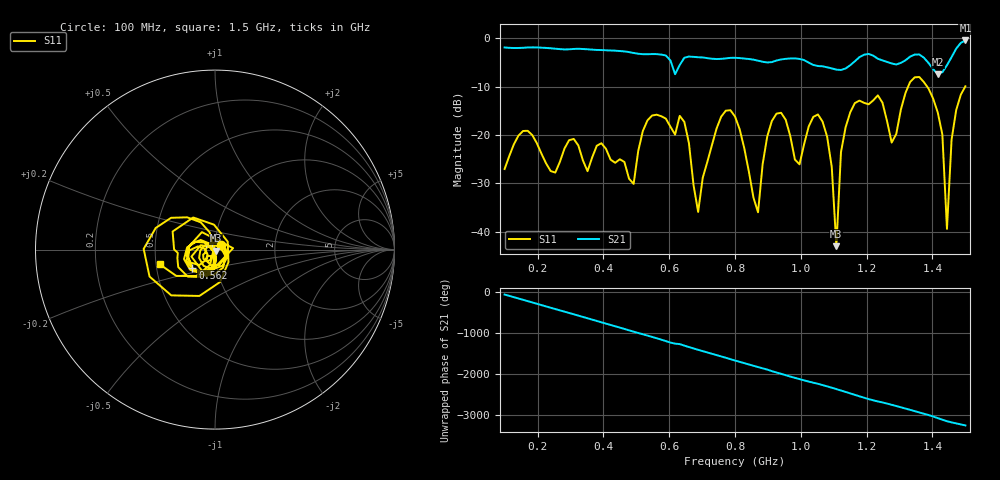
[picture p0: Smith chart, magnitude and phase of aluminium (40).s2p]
! NanoVNA-App
! Date: 2025-09-25 14:55:35
! Start: 100MHz Stop: 1,5GHz Points: 101
! S-Parameter data: F S11 S21 S12 S22
# Hz S RI R 50
!  Frequency  S11_Real  S11_Imag  S21_Real  S21_Imag  S12_Real  S12_Imag  S22_Real  S22_Imag
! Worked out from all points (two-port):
!   101 points, 100 MHz to 1.5 GHz, reference 50 ohm
!   highest |S21| = -0.47 dB at 1.5 GHz (marker M1); lowest = -7.5 dB at 1.416 GHz (marker M2)
!   |S21| within 3 dB of the highest: start of sweep to 581.6 MHz; 1.462 GHz to end of sweep (the widest 2 of 4)
!   lowest |S11| = -42.9 dB at 1.108 GHz (marker M3), VSWR 1.01, Z = 50.4 - j0.586 ohm
!   |S11| at or under -10 dB: start of sweep to 1.326 GHz; 1.384 GHz to 1.499 GHz (115.6 MHz wide, 8.02 % of centre)
!   S12 and S22 are empty: the file has one direction only
!   S11 on the Smith chart (normalised r, x): 100 MHz: 1.07, +0.06; 562 MHz: 0.76, -0.16; 1.5 GHz: 0.52, -0.10
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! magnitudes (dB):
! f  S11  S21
! 100 MHz  -27.0  -1.9
! 338 MHz  -25.3  -2.2
! 492 MHz  -30.1  -3.1
! 562 MHz  -15.8  -3.3
! 576 MHz  -16.1  -3.4
! 646 MHz  -17.3  -4.0
! 688 MHz  -35.9  -3.9
! 800 MHz  -16.2  -4.1
! 870 MHz  -35.9  -4.6
! 912 MHz  -17.1  -4.9
! 996 MHz  -26.0  -4.3
! 1.038 GHz  -16.2  -5.5
! 1.08 GHz  -20.4  -6.0
! 1.108 GHz  -42.9  -6.5
! 1.122 GHz  -23.5  -6.6
! 1.164 GHz  -13.4  -4.8
! 1.276 GHz  -21.5  -5.2
! 1.346 GHz  -8.1  -3.4
! 1.416 GHz  -15.3  -7.5
! 1.444 GHz  -39.4  -5.6
! 1.458 GHz  -21.0  -3.9
! 1.5 GHz  -9.9  -0.5
